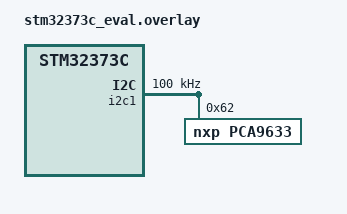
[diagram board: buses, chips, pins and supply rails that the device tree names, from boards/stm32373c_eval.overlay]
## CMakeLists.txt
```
# SPDX-License-Identifier: Apache-2.0

cmake_minimum_required(VERSION 3.13.1)

find_package(Zephyr REQUIRED HINTS $ENV{ZEPHYR_BASE})
project(led_pca9633)

FILE(GLOB app_sources src/*.c)
target_sources(app PRIVATE ${app_sources})
```

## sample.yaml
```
sample:
  description: Demonstration of the PCA9633 LED driver
  name: PCA9633 sample
tests:
  sample.drivers.led.pca9633:
    platform_allow: stm32373c_eval
    tags: LED
```

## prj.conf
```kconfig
CONFIG_LOG=y

CONFIG_I2C=y

CONFIG_LED=y
CONFIG_PCA9633=y
```

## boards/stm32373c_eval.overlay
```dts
/* SPDX-License-Identifier: Apache-2.0 */

&i2c1 {
	status = "okay";
	clock-frequency = <I2C_BITRATE_STANDARD>;

	pca9633@62 {
		compatible = "nxp,pca9633";
		reg = <0x62>;
		label = "PCA9633";
	};
};
```

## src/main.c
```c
/*
 * Copyright (c) 2018 Savoir-Faire Linux.
 *
 * SPDX-License-Identifier: Apache-2.0
 */

#include <device.h>
#include <errno.h>
#include <drivers/led.h>
#include <sys/util.h>
#include <zephyr.h>

#define LOG_LEVEL CONFIG_LOG_DEFAULT_LEVEL
#include <logging/log.h>
LOG_MODULE_REGISTER(main);

#define LED_DEV_NAME DT_LABEL(DT_INST(0, nxp_pca9633))
#define NUM_LEDS 4
#define MAX_BRIGHTNESS 100
#define HALF_BRIGHTNESS (MAX_BRIGHTNESS / 2)
#define BLINK_DELAY_ON 500
#define BLINK_DELAY_OFF 500
#define DELAY_TIME_MS 1000
#define DELAY_TIME K_MSEC(DELAY_TIME_MS)

void main(void)
{
	const struct device *led_dev;
	int i, ret;

	led_dev = device_get_binding(LED_DEV_NAME);
	if (led_dev) {
		LOG_INF("Found LED device %s", LED_DEV_NAME);
	} else {
		LOG_ERR("LED device %s not found", LED_DEV_NAME);
		return;
	}

	LOG_INF("Testing leds");

	while (1) {
		/* Turn on LEDs one by one */
		for (i = 0; i < NUM_LEDS; i++) {
			ret = led_on(led_dev, i);
			if (ret < 0) {
				return;
			}

			k_sleep(DELAY_TIME);
		}

		/* Turn off LEDs one by one */
		for (i = 0; i < NUM_LEDS; i++) {
			ret = led_off(led_dev, i);
			if (ret < 0) {
				return;
			}

			k_sleep(DELAY_TIME);
		}

		/* Set the brightness to half max of LEDs one by one */
		for (i = 0; i < NUM_LEDS; i++) {
			ret = led_set_brightness(led_dev, i, HALF_BRIGHTNESS);
			if (ret < 0) {
				return;
			}

			k_sleep(DELAY_TIME);
		}

		/* Turn off LEDs one by one */
		for (i = 0; i < NUM_LEDS; i++) {
			ret = led_off(led_dev, i);
			if (ret < 0) {
				return;
			}

			k_sleep(DELAY_TIME);
		}

		/* Test the blinking of LEDs one by one */
		for (i = 0; i < NUM_LEDS; i++) {
			ret = led_blink(led_dev, i, BLINK_DELAY_ON,
					BLINK_DELAY_OFF);
			if (ret < 0) {
				return;
			}

			k_sleep(DELAY_TIME);
		}

		/* Wait a few blinking before turning off the LEDs */
		k_msleep(DELAY_TIME_MS * 10);

		/* Turn off LEDs one by one */
		for (i = 0; i < NUM_LEDS; i++) {
			ret = led_off(led_dev, i);
			if (ret < 0) {
				return;
			}

			k_sleep(DELAY_TIME);
		}

	}
}
```
